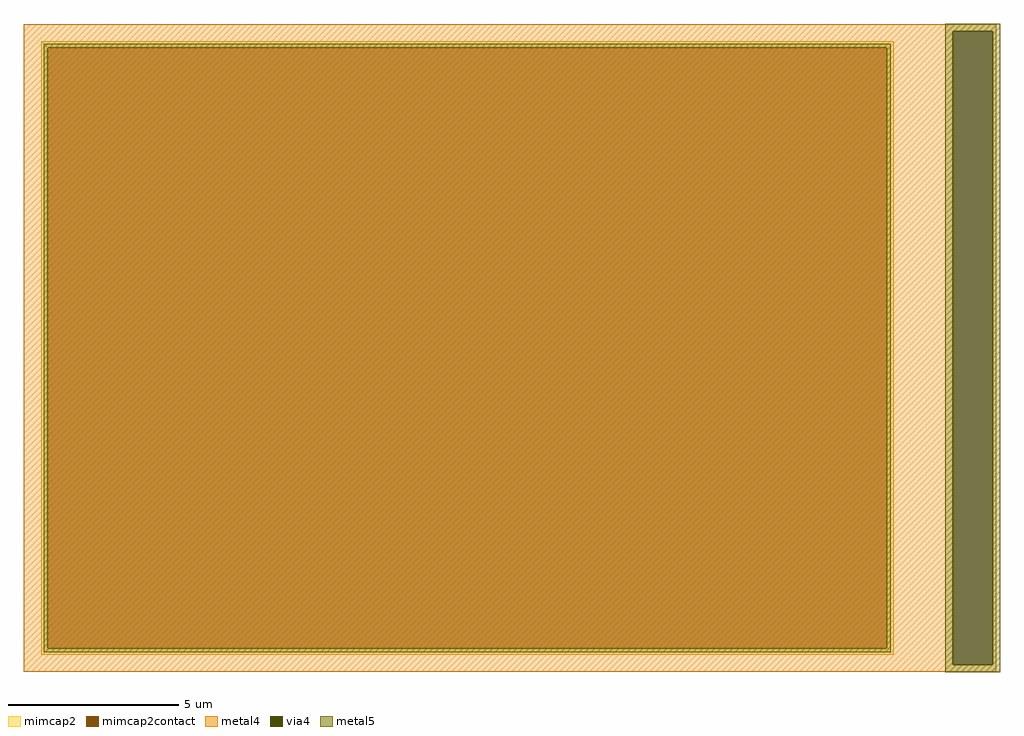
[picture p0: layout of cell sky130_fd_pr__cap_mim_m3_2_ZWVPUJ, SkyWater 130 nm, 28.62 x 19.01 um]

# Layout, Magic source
magic
tech sky130A
magscale 1 2
<< metal4 >>
rect -2851 1859 2851 1900
rect -2851 -1859 2595 1859
rect 2831 -1859 2851 1859
rect -2851 -1900 2851 -1859
<< via4 >>
rect 2595 -1859 2831 1859
<< mimcap2 >>
rect -2751 1760 2249 1800
rect -2751 -1760 -2711 1760
rect 2209 -1760 2249 1760
rect -2751 -1800 2249 -1760
<< mimcap2contact >>
rect -2711 -1760 2209 1760
<< metal5 >>
rect 2553 1859 2873 1901
rect -2735 1760 2233 1784
rect -2735 -1760 -2711 1760
rect 2209 -1760 2233 1760
rect -2735 -1784 2233 -1760
rect 2553 -1859 2595 1859
rect 2831 -1859 2873 1859
rect 2553 -1901 2873 -1859
<< properties >>
string FIXED_BBOX -2851 -1900 2349 1900
string gencell sky130_fd_pr__cap_mim_m3_2
string library sky130
string parameters w 25 l 18 val 916.34 carea 2.00 cperi 0.19 nx 1 ny 1 dummy 0 square 0 lmin 2.00 wmin 2.00 lmax 30.0 wmax 30.0 dc 0 bconnect 1 tconnect 1 ccov 100
<< end >>
